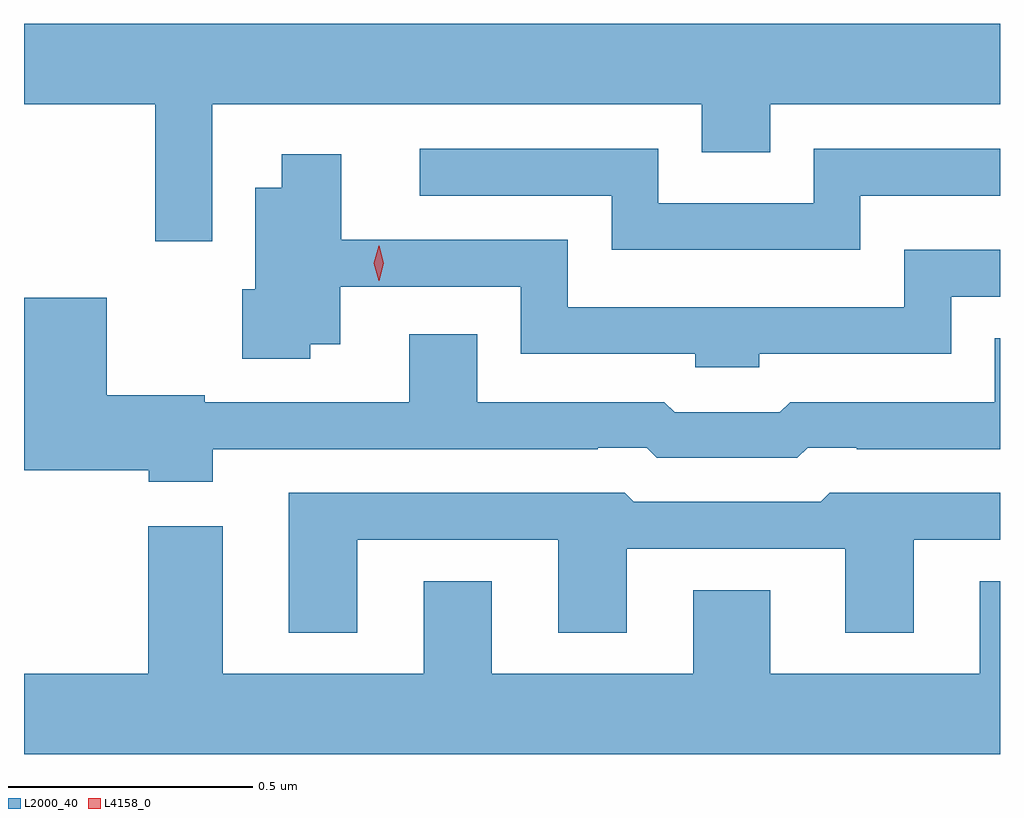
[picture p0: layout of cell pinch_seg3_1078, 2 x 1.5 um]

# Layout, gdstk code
import gdstk
lib = gdstk.Library(unit=1e-6, precision=1e-09)
def P(c, l, *ps):  # polygons
    for p in ps: c.add(gdstk.Polygon(p, *l))
L2000_40 = (2000, 40)
L4158_0 = (4158, 0)

pinch_seg3_1078 = lib.new_cell('pinch_seg3_1078')
P(pinch_seg3_1078, L2000_40, [(363.52,739.544),(364.523,739.544),(364.523,739.445),(364.663,739.445),(364.663,739.544),(365.134,739.544),(365.134,739.708),(363.134,739.708),(363.134,739.544),(363.403,739.544),(363.403,739.263),(363.52,739.263)],
  [(364.848,739.356),(365.134,739.356),(365.134,739.452),(364.752,739.452),(364.752,739.341),(364.434,739.341),(364.434,739.452),(363.945,739.452),(363.945,739.356),(364.338,739.356),(364.338,739.245),(364.848,739.245)],
  [(364.641,739.032),(365.034,739.032),(365.034,739.149),(365.134,739.149),(365.134,739.245),(364.938,739.245),(364.938,739.128),(364.248,739.128),(364.248,739.266),(363.784,739.266),(363.784,739.441),(363.662,739.441),(363.662,739.372),(363.608,739.372),(363.608,739.164),(363.581,739.164),(363.581,739.022),(363.721,739.022),(363.721,739.052),(363.782,739.052),(363.782,739.17),(364.152,739.17),(364.152,739.032),(364.509,739.032),(364.509,739.005),(364.641,739.005)],
  [(363.521,738.837),(364.31,738.837),(364.31,738.84),(364.41,738.84),(364.431,738.819),(364.719,738.819),(364.74,738.84),(364.84,738.84),(364.84,738.837),(365.134,738.837),(365.134,739.064),(365.123,739.064),(365.123,738.933),(364.704,738.933),(364.683,738.912),(364.467,738.912),(364.446,738.933),(364.063,738.933),(364.063,739.072),(363.923,739.072),(363.923,738.933),(363.504,738.933),(363.504,738.947),(363.304,738.947),(363.304,739.147),(363.134,739.147),(363.134,738.794),(363.39,738.794),(363.39,738.77),(363.521,738.77)],
  [(363.817,738.651),(364.229,738.651),(364.229,738.461),(364.369,738.461),(364.369,738.633),(364.817,738.633),(364.817,738.461),(364.957,738.461),(364.957,738.651),(365.134,738.651),(365.134,738.747),(364.785,738.747),(364.767,738.729),(364.383,738.729),(364.365,738.747),(363.677,738.747),(363.677,738.461),(363.817,738.461)],
  [(365.134,738.566),(365.093,738.566),(365.093,738.376),(364.663,738.376),(364.663,738.548),(364.505,738.548),(364.505,738.376),(364.093,738.376),(364.093,738.566),(363.953,738.566),(363.953,738.376),(363.541,738.376),(363.541,738.679),(363.389,738.679),(363.389,738.376),(363.134,738.376),(363.134,738.212),(365.134,738.212)])
P(pinch_seg3_1078, L4158_0, [(363.861,739.182),(363.861,739.182),(363.851,739.218),(363.861,739.254),(363.861,739.254),(363.862,739.254),(363.871,739.218),(363.862,739.182)])

lib.write_gds('pinch_seg3_1078.gds')
